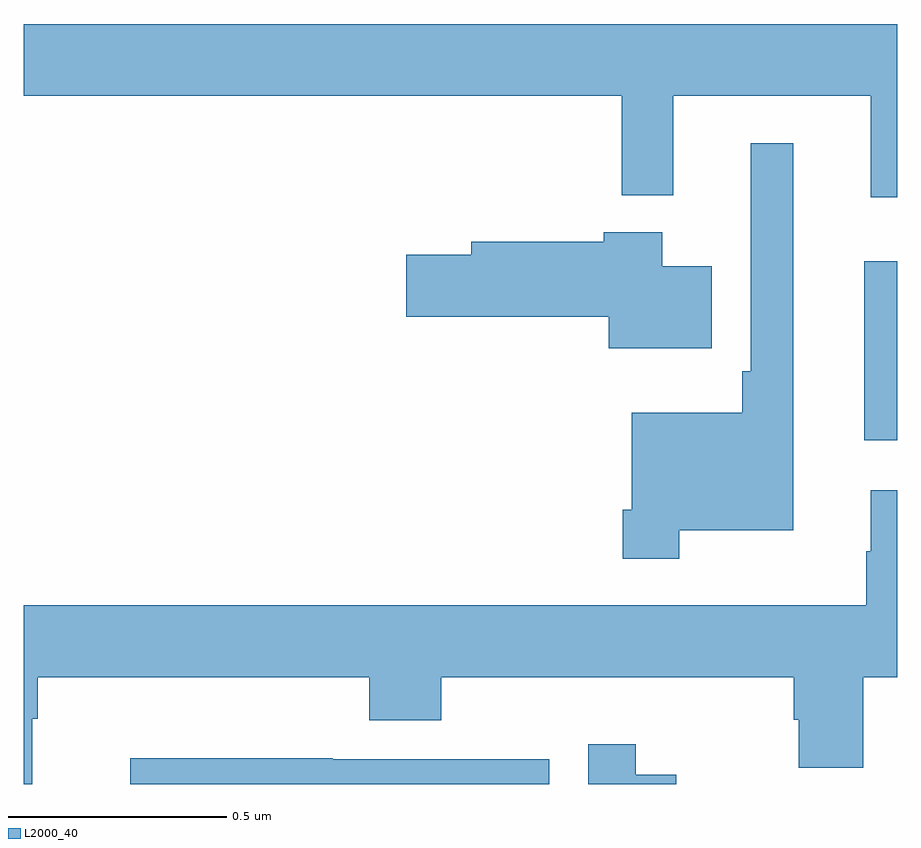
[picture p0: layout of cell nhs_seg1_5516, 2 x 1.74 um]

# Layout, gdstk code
import gdstk
lib = gdstk.Library(unit=1e-6, precision=1e-09)
def R(c, l, rs):  # rectangles x0, y0, x1, y1
    for r in rs: c.add(gdstk.rectangle(r[:2], r[2:], *l))
def P(c, l, *ps):  # polygons
    for p in ps: c.add(gdstk.Polygon(p, *l))
L2000_40 = (2000, 40)

nhs_seg1_5516 = lib.new_cell('nhs_seg1_5516')
R(nhs_seg1_5516, L2000_40, [(181.925,506.987,182,507.397)])
P(nhs_seg1_5516, L2000_40, [(182,507.94),(180,507.94),(180,507.776),(181.369,507.776),(181.369,507.548),(181.487,507.548),(181.487,507.776),(181.94,507.776),(181.94,507.543),(182,507.543)],
  [(181.501,506.78),(181.762,506.78),(181.762,507.667),(181.665,507.667),(181.665,507.145),(181.645,507.145),(181.645,507.049),(181.392,507.049),(181.392,506.827),(181.372,506.827),(181.372,506.715),(181.501,506.715)],
  [(181.576,507.385),(181.462,507.385),(181.462,507.463),(181.328,507.463),(181.328,507.441),(181.025,507.441),(181.025,507.411),(180.876,507.411),(180.876,507.269),(181.34,507.269),(181.34,507.197),(181.576,507.197)],
  [(180.019,506.348),(180.032,506.348),(180.032,506.444),(180.791,506.444),(180.791,506.345),(180.956,506.345),(180.956,506.444),(181.763,506.444),(181.763,506.346),(181.775,506.346),(181.775,506.236),(181.923,506.236),(181.923,506.444),(182,506.444),(182,506.872),(181.94,506.872),(181.94,506.732),(181.929,506.732),(181.929,506.608),(180,506.608),(180,506.199),(180.019,506.199)],
  [(181.494,506.22),(181.402,506.22),(181.402,506.29),(181.293,506.29),(181.293,506.199),(181.494,506.199)],
  [(181.203,506.256),(180.707,506.256),(180.707,506.258),(180.244,506.258),(180.244,506.199),(181.203,506.199)])

lib.write_gds('nhs_seg1_5516.gds')
